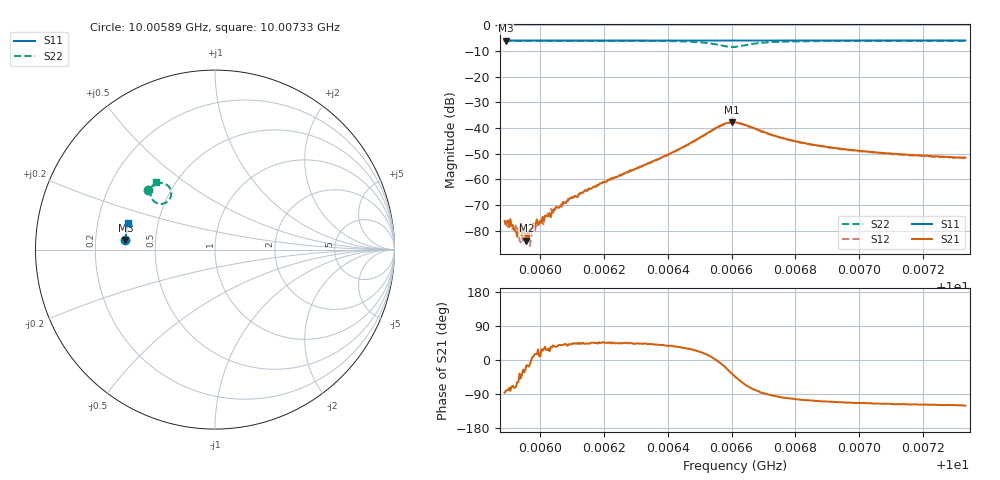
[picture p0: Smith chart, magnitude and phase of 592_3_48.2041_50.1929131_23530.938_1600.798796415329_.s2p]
#  HZ  S  RI  R  50.00
! Rohde & Schwarz Vector Network Analyzer
! Rohde-Schwarz,ZNB20-2Port,1311601062101988,3.16
! Created: UTC 3/20/2024, 12:02:39 PM
! freq[Hz]  re:S11  im:S11  re:S21  im:S21  re:S12  im:S12  re:S22  im:S22
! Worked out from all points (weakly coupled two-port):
!   401 points, 10.00589 GHz to 10.00733 GHz, reference 50 ohm
!   highest |S21| = -37.79 dB at 10.0066 GHz (marker M1); lowest = -83.8 dB at 10.00596 GHz (marker M2)
!   lowest |S11| = -6.0 dB at 10.00589 GHz (marker M3), VSWR 3.02, Z = 16.6 + j2.41 ohm
!   |S11| at or under -10 dB: nowhere
!   |S22| runs from -8.5 to -6.0 dB; largest |S21 - S12| = 0.001
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1.0005889e10  -0.4994 0.0537  1.11e-05 -0.000156  2.74e-05 -0.000129  -0.3736 0.3293
1.0005892e10  -0.4992 0.0542  1.82e-05 -0.000131  2.22e-05 -0.00014  -0.3734 0.3296
1.0005907e10  -0.4993 0.055  2.54e-05 -0.000167  4.67e-05 -0.000129  -0.3726 0.3304
1.0005925e10  -0.4991 0.0561  3.38e-05 -8.99e-05  8.56e-05 -0.000102  -0.3716 0.3316
1.0005939e10  -0.4991 0.0571  9.01e-05 -0.000102  4.26e-05 -4.08e-05  -0.3708 0.3325
1.0005957e10  -0.4989 0.0584  6.26e-05 -1.52e-05  6.08e-05 -4.25e-05  -0.3698 0.3337
1.0005968e10  -0.499 0.059  0.000107 -2.08e-05  4.98e-05 -5.96e-06  -0.3694 0.3344
1.0005979e10  -0.4988 0.0598  0.000127 1.96e-05  0.000137 1.12e-05  -0.3687 0.335
1.0005997e10  -0.4986 0.061  0.000135 2.46e-05  0.000129 5.31e-05  -0.3676 0.3362
1.0006004e10  -0.4986 0.0614  0.000125 6.83e-05  0.000129 7.68e-05  -0.3672 0.3365
1.0006026e10  -0.4985 0.0628  0.000167 9.64e-05  0.000142 0.000127  -0.3659 0.338
1.0006048e10  -0.4983 0.0642  0.000223 0.000157  0.000211 0.000175  -0.3645 0.3396
1.0006131e10  -0.4978 0.0696  0.000406 0.000378  0.000368 0.000395  -0.3589 0.3453
1.0006373e10  -0.4958 0.0854  0.00194 0.00163  0.00182 0.00168  -0.3312 0.3653
1.0006521e10  -0.4938 0.0951  0.00744 0.00201  0.00717 0.00234  -0.2722 0.3631
1.0006571e10  -0.4927 0.0978  0.0114 -0.00241  0.0111 -0.0018  -0.2436 0.3152
1.00066e10  -0.4925 0.0993  0.0105 -0.00745  0.0108 -0.00647  -0.2597 0.2724
1.0006611e10  -0.4924 0.0998  0.00923 -0.00897  0.00979 -0.0081  -0.2742 0.2615
1.000669e10  -0.4924 0.1045  0.000665 -0.00885  0.00116 -0.00854  -0.3519 0.2838
1.0006853e10  -0.4907 0.1152  -0.0014 -0.00457  -0.00115 -0.00455  -0.356 0.3367
1.0007095e10  -0.4874 0.1307  -0.0014 -0.00289  -0.00125 -0.00288  -0.3408 0.3632
1.0007333e10  -0.4835 0.1457  -0.00134 -0.00227  -0.00117 -0.00226  -0.3272 0.3788
